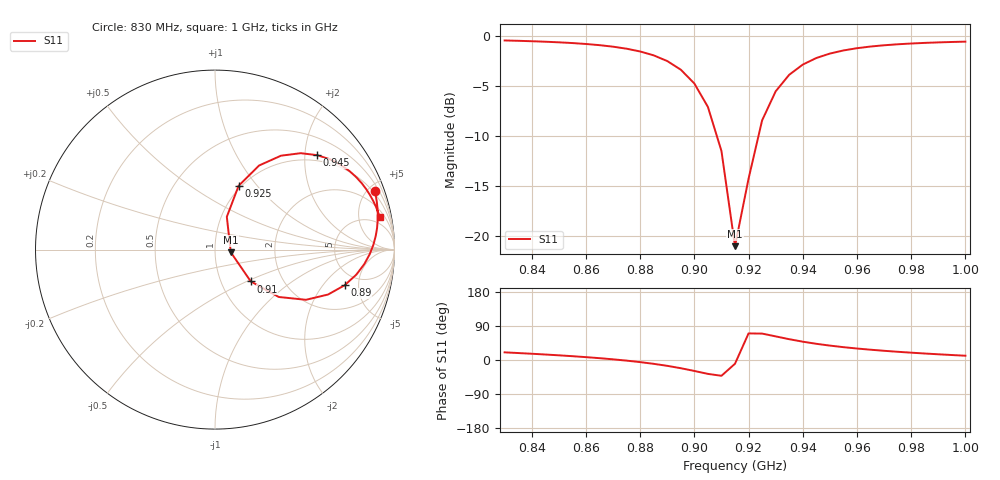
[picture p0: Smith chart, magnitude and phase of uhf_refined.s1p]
# Hz S RI R 50
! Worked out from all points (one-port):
!   35 points, 830 MHz to 1 GHz, reference 50 ohm
!   lowest |S11| = -21.0 dB at 915 MHz (marker M1), VSWR 1.20, Z = 59.6 - j1.84 ohm
!   |S11| at or under -10 dB: 908.3 MHz to 923.6 MHz (15.33 MHz wide, 1.67 % of centre)
!   S11 on the Smith chart (normalised r, x): 830 MHz: 0.84, +5.49; 890 MHz: 3.76, -3.40; 910 MHz: 1.38, -0.53; 925 MHz: 0.97, +0.81; 945 MHz: 0.86, +2.28; 1 GHz: 3.10, +9.08
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8.3e8  0.8901 0.3272
8.45e8  0.905 0.2339
8.55e8  0.9063 0.1608
8.65e8  0.8954 0.0755
8.7e8  0.8826 0.0274
8.75e8  0.8623 -0.0248
8.8e8  0.8318 -0.081
8.85e8  0.7868 -0.14
8.9e8  0.7219 -0.1988
8.95e8  0.6302 -0.2502
9e8  0.5068 -0.2797
9.05e8  0.355 -0.2639
9.1e8  0.1993 -0.1773
9.15e8  0.0881 -0.0153
9.2e8  0.0659 0.1825
9.25e8  0.1316 0.3554
9.3e8  0.2454 0.4685
9.35e8  0.3678 0.5233
9.4e8  0.4778 0.5371
9.45e8  0.5693 0.5263
9.5e8  0.643 0.5022
9.55e8  0.7019 0.4715
9.6e8  0.749 0.4379
9.65e8  0.787 0.4035
9.7e8  0.8179 0.3693
9.8e8  0.864 0.3033
9.9e8  0.8956 0.2412
1e9  0.9175 0.1829
